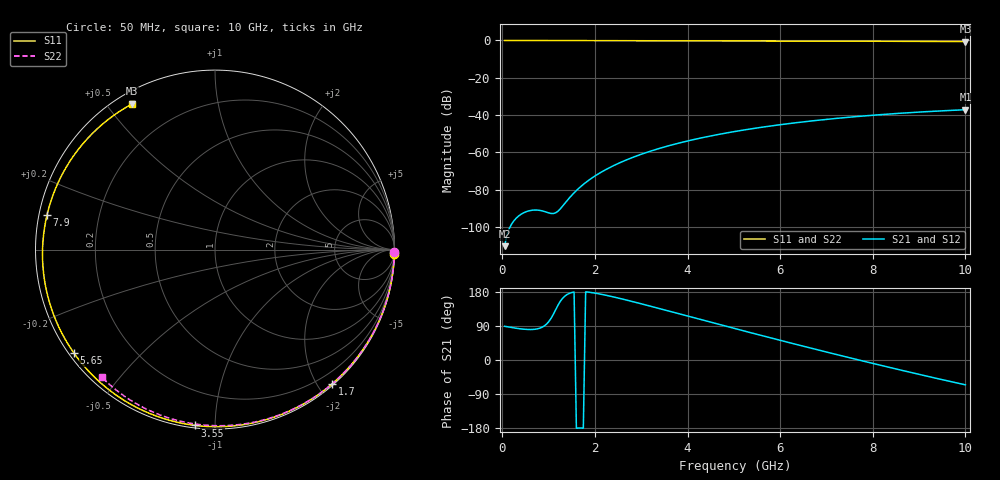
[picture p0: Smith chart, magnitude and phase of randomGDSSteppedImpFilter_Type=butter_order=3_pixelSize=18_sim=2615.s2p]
! freq	dB(S11)	phase(S11)	dB(S12)	phase(S12)
!  dB(S21)	phase(S21)	dB(S22)	phase(S22)
!S-par simulation data
#  GHz  S  DB  R 50
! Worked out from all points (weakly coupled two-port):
!   200 points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, 50 MHz to 10 GHz, reference 50 ohm
!   highest |S21| = -37.15 dB at 10 GHz (marker M1); lowest = -110.3 dB at 50 MHz (marker M2)
!   lowest |S11| = -0.6 dB at 10 GHz (marker M3), VSWR 29.15, Z = 2.3 + j29.1 ohm
!   |S11| at or under -10 dB: nowhere
!   |S22| runs from -0.4 to 0.0 dB; largest |S21 - S12| = 0
!   S11 on the Smith chart (normalised r, x): 50 MHz: 0, -77; 1.7 GHz: 0.02, -2.20; 3.55 GHz: 0.01, -0.89; 5.65 GHz: 0.01, -0.33; 7.9 GHz: 0.02, +0.10; 10 GHz: 0.05, +0.58
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0.05  -0.00 -1.5  -110.29 88.9  -110.29 88.9  -0.00 -0.8
0.4  -0.02 -11.7  -93.27 82.1  -93.27 82.1  -0.01 -6.1
0.8  -0.03 -23.4  -91.07 83.5  -91.07 83.5  -0.02 -12.1
1.2  -0.04 -34.8  -91.60 144.0  -91.60 144.0  -0.02 -18.1
1.6  -0.06 -46.0  -80.46 -179.9  -80.46 -179.9  -0.03 -24.0
1.7  -0.06 -48.8  -78.21 -179.5  -78.21 -179.5  -0.03 -25.5
1.75  -0.06 -50.2  -77.17 -179.7  -77.17 -179.7  -0.03 -26.2
2.05  -0.07 -58.3  -71.90 175.5  -71.90 175.5  -0.04 -30.6
2.45  -0.09 -68.9  -66.56 165.1  -66.56 165.1  -0.05 -36.4
2.9  -0.10 -80.5  -61.92 151.5  -61.92 151.5  -0.06 -42.9
3.4  -0.12 -92.8  -57.82 135.5  -57.82 135.5  -0.07 -50.0
3.55  -0.12 -96.5  -56.76 130.7  -56.76 130.7  -0.07 -52.0
4.25  -0.15 -112.9  -52.49 107.9  -52.49 107.9  -0.09 -61.6
5.05  -0.19 -130.7  -48.68 82.1  -48.68 82.1  -0.11 -72.3
5.65  -0.22 -143.7  -46.36 63.0  -46.36 63.0  -0.13 -80.0
6.2  -0.26 -155.4  -44.54 45.7  -44.54 45.7  -0.16 -87.0
6.7  -0.29 -166.0  -43.10 30.2  -43.10 30.2  -0.18 -93.2
7.3  -0.34 -178.8  -41.59 11.9  -41.59 11.9  -0.21 -100.4
7.9  -0.39 168.3  -40.29 -6.0  -40.29 -6.0  -0.25 -107.5
8.35  -0.44 158.4  -39.45 -19.2  -39.45 -19.2  -0.29 -112.8
9.15  -0.51 140.1  -38.19 -42.1  -38.19 -42.1  -0.36 -121.9
10  -0.60 119.6  -37.15 -65.5  -37.15 -65.5  -0.44 -131.5
